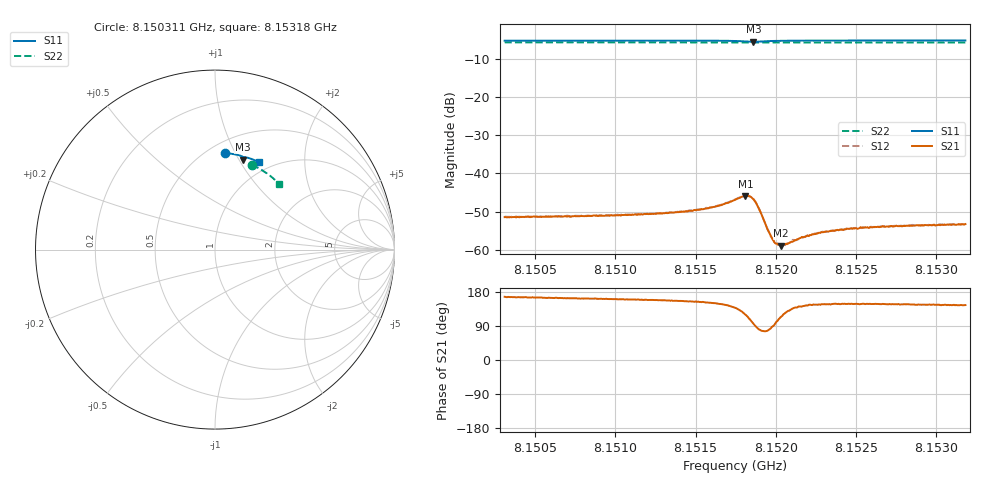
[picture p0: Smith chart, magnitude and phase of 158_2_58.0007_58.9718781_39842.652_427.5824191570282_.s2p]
#  HZ  S  RI  R  50.00
! Rohde & Schwarz Vector Network Analyzer
! Rohde-Schwarz,ZNB20-2Port,1311601062101988,3.16
! Created: UTC 3/21/2024, 12:57:19 AM
! freq[Hz]  re:S11  im:S11  re:S21  im:S21  re:S12  im:S12  re:S22  im:S22
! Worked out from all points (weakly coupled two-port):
!   401 points, 8.150311 GHz to 8.15318 GHz, reference 50 ohm
!   highest |S21| = -45.89 dB at 8.15181 GHz (marker M1); lowest = -58.9 dB at 8.152032 GHz (marker M2)
!   lowest |S11| = -5.6 dB at 8.15186 GHz (marker M3), VSWR 3.20, Z = 37.4 + j51.8 ohm
!   |S11| at or under -10 dB: nowhere
!   |S22| runs from -5.8 to -5.8 dB; largest |S21 - S12| = 0.00012
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8.1503109e9  0.0535 0.5385  -0.00261 0.000614  -0.00263 0.000675  0.2063 0.4722
8.1507915e9  0.0873 0.5348  -0.00264 0.00084  -0.00266 0.000901  0.234 0.4585
8.1512721e9  0.1212 0.5287  -0.00277 0.00112  -0.00278 0.0012  0.261 0.4429
8.151559e9  0.1426 0.523  -0.00306 0.0016  -0.00307 0.00166  0.2764 0.433
8.1516594e9  0.1509 0.5193  -0.00324 0.00206  -0.00326 0.00214  0.2818 0.4294
8.1517455e9  0.1581 0.5136  -0.00333 0.00303  -0.00335 0.00311  0.2865 0.426
8.1518101e9  0.1599 0.5052  -0.00254 0.0044  -0.00249 0.00448  0.2896 0.4233
8.1518387e9  0.1569 0.5018  -0.00144 0.00475  -0.00137 0.00484  0.2908 0.4223
8.1518603e9  0.1534 0.5014  -0.000478 0.00457  -0.000396 0.00461  0.2917 0.4216
8.1518746e9  0.1513 0.5027  9.64e-05 0.00417  0.000176 0.00421  0.2925 0.421
8.1518961e9  0.1498 0.5057  0.000581 0.00334  0.000625 0.00337  0.2934 0.4205
8.1519463e9  0.1524 0.512  0.000418 0.00183  0.000448 0.00187  0.2963 0.4189
8.151975e9  0.1555 0.5139  6.19e-05 0.00143  9.28e-05 0.00142  0.2978 0.4178
8.1520037e9  0.1587 0.5148  -0.000237 0.00119  -0.000236 0.0012  0.2994 0.4167
8.1520324e9  0.1615 0.5153  -0.000467 0.00103  -0.000449 0.00104  0.3008 0.4158
8.1520683e9  0.1651 0.5153  -0.000716 0.000943  -0.000718 0.000973  0.3028 0.4143
8.1521042e9  0.1683 0.5149  -0.000919 0.000889  -0.000926 0.000986  0.3046 0.4129
8.1522261e9  0.1782 0.5129  -0.0013 0.000917  -0.00131 0.000907  0.3107 0.408
8.1522978e9  0.1836 0.5114  -0.00143 0.000926  -0.00141 0.000974  0.3144 0.4051
8.1524556e9  0.195 0.5079  -0.0016 0.000981  -0.00158 0.00103  0.3222 0.3987
8.1527067e9  0.2119 0.5017  -0.00171 0.00108  -0.00171 0.00109  0.3343 0.3882
8.1531801e9  0.2425 0.4886  -0.00178 0.00125  -0.00176 0.0013  0.356 0.3674
